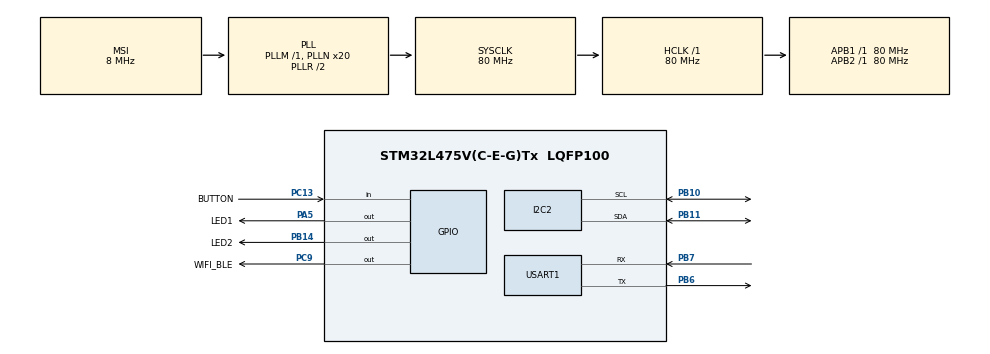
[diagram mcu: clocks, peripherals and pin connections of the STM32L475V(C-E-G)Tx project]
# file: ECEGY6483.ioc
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FREERTOS.Mutexes01=log_mutex,Static,log_mutexControlBlock,Available;sensor_buffer_mutex,Static,sensos_buffer_mutexControlBlock,Available
FREERTOS.Tasks01=defaultTask,8,128,StartDefaultTask,Default,NULL,Static,defaultTaskBuffer,defaultTaskControlBlock;testTask,8,256,StartTestTask,As external,NULL,Static,testTaskBuffer,testTaskControlBlock;sensorTask,40,128,StartSensorTask,As external,NULL,Static,sensorTaskBuffer,sensorTaskControlBlock;fftTask,8,512,StartFFTTask,As external,NULL,Static,fftTaskBuffer,fftTaskControlBlock
FREERTOS.configENABLE_FPU=1
I2C2.Timing=0x10D19CE4
Mcu.Family=STM32L4
Mcu.Name=STM32L475V(C-E-G)Tx
Mcu.Package=LQFP100
NVIC.PriorityGroup=NVIC_PRIORITYGROUP_4
NVIC.TIM6_DAC_IRQn=true\:15\:0\:false\:false\:true\:false\:false\:true\:true
NVIC.TimeBase=TIM6_DAC_IRQn
NVIC.TimeBaseIP=TIM6
PA13\ (JTMS-SWDIO).Mode=Serial_Wire
PA13\ (JTMS-SWDIO).Signal=SYS_JTMS-SWDIO
PA14\ (JTCK-SWCLK).Mode=Serial_Wire
PA14\ (JTCK-SWCLK).Signal=SYS_JTCK-SWCLK
PA5.GPIO_Label=LED1
PA5.Signal=GPIO_Output
PB10.Mode=I2C
PB10.Signal=I2C2_SCL
PB11.Mode=I2C
PB11.Signal=I2C2_SDA
PB14.GPIO_Label=LED2
PB14.Signal=GPIO_Output
PB6.Mode=Asynchronous
PB6.Signal=USART1_TX
PB7.Mode=Asynchronous
PB7.Signal=USART1_RX
PC13.GPIO_Label=BUTTON
PC13.Signal=GPIO_Input
PC9.GPIO_Label=WIFI_BLE
PC9.GPIO_ModeDefaultOutputPP=GPIO_MODE_OUTPUT_OD
PC9.GPIO_PuPd=GPIO_NOPULL
PC9.PinState=GPIO_PIN_SET
PC9.Signal=GPIO_Output
ProjectManager.HeapSize=0x200
ProjectManager.StackSize=0x400
ProjectManager.TargetToolchain=CMake
RCC.ADCFreq_Value=32000000
RCC.AHBFreq_Value=80000000
RCC.APB1Freq_Value=80000000
RCC.APB1TimFreq_Value=80000000
RCC.APB2Freq_Value=80000000
RCC.APB2TimFreq_Value=80000000
RCC.CortexFreq_Value=80000000
RCC.HCLKFreq_Value=80000000
RCC.HSE_VALUE=8000000
RCC.HSI_VALUE=16000000
RCC.LSE_VALUE=32768
RCC.MSIClockRange=RCC_MSIRANGE_7
RCC.MSI_VALUE=8000000
RCC.PLLN=20
RCC.SYSCLKFreq_VALUE=80000000
RCC.SYSCLKSource=RCC_SYSCLKSOURCE_PLLCLK
RCC.USBFreq_Value=32000000
RCC.VCOOutputFreq_Value=160000000
STMicroelectronics.X-CUBE-ALGOBUILD.1.4.0.LibraryCcDSPOoLibraryJjDSPOoLibrary=true
USART1.VirtualMode-Asynchronous=VM_ASYNC
VP_FREERTOS_VS_CMSIS_V2.Mode=CMSIS_V2
VP_STMicroelectronics.X-CUBE-ALGOBUILD_VS_DSPOoLibraryJjLibrary_1.4.0_1.4.0.Mode=DSPOoLibraryJjLibrary
VP_SYS_VS_tim6.Mode=TIM6
board=custom

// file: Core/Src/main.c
/* USER CODE BEGIN Header */
/**
  ******************************************************************************
  * @file           : main.c
  * @brief          : Main program body
  ******************************************************************************
  * @attention
  *
  * Copyright (c) 2025 STMicroelectronics.
  * All rights reserved.
  *
  * This software is licensed under terms that can be found in the LICENSE file
  * in the root directory of this software component.
  * If no LICENSE file comes with this software, it is provided AS-IS.
  *
  ******************************************************************************
  */
/* USER CODE END Header */
#include "main.h"
#include "cmsis_os.h"

/* USER CODE BEGIN Includes */
#include <stdio.h>

#include "stm32l475e_iot01.h"
/* USER CODE END Includes */

typedef StaticTask_t osStaticThreadDef_t;
typedef StaticSemaphore_t osStaticMutexDef_t;

/* USER CODE BEGIN PD */
#ifdef __GNUC__
/* With GCC/RAISONANCE, small msg_info (option LD Linker->Libraries->Small msg_info
   set to 'Yes') calls __io_putchar() */
#define PUTCHAR_PROTOTYPE int __io_putchar(int ch)
#define GETCHAR_PROTOTYPE int __io_getchar(void)
#else
#define PUTCHAR_PROTOTYPE int fputc(int ch, FILE *f)
#define GETCHAR_PROTOTYPE int fgetc(FILE *f)
#endif /* __GNUC__ */
/* USER CODE END PD */

I2C_HandleTypeDef hi2c2;

UART_HandleTypeDef huart1;

/* Definitions for defaultTask */
osThreadId_t defaultTaskHandle;
uint32_t defaultTaskBuffer[ 128 ];
osStaticThreadDef_t defaultTaskControlBlock;
const osThreadAttr_t defaultTask_attributes = {
  .name = "defaultTask",
  .cb_mem = &defaultTaskControlBlock,
  .cb_size = sizeof(defaultTaskControlBlock),
  .stack_mem = &defaultTaskBuffer[0],
  .stack_size = sizeof(defaultTaskBuffer),
  .priority = (osPriority_t) osPriorityLow,
};
/* Definitions for testTask */
osThreadId_t testTaskHandle;
uint32_t testTaskBuffer[ 256 ];
osStaticThreadDef_t testTaskControlBlock;
const osThreadAttr_t testTask_attributes = {
  .name = "testTask",
  .cb_mem = &testTaskControlBlock,
  .cb_size = sizeof(testTaskControlBlock),
  .stack_mem = &testTaskBuffer[0],
  .stack_size = sizeof(testTaskBuffer),
  .priority = (osPriority_t) osPriorityLow,
};
/* Definitions for sensorTask */
osThreadId_t sensorTaskHandle;
uint32_t sensorTaskBuffer[ 128 ];
osStaticThreadDef_t sensorTaskControlBlock;
const osThreadAttr_t sensorTask_attributes = {
  .name = "sensorTask",
  .cb_mem = &sensorTaskControlBlock,
  .cb_size = sizeof(sensorTaskControlBlock),
  .stack_mem = &sensorTaskBuffer[0],
  .stack_size = sizeof(sensorTaskBuffer),
  .priority = (osPriority_t) osPriorityHigh,
};
/* Definitions for fftTask */
osThreadId_t fftTaskHandle;
uint32_t fftTaskBuffer[ 512 ];
osStaticThreadDef_t fftTaskControlBlock;
const osThreadAttr_t fftTask_attributes = {
  .name = "fftTask",
  .cb_mem = &fftTaskControlBlock,
  .cb_size = sizeof(fftTaskControlBlock),
  .stack_mem = &fftTaskBuffer[0],
  .stack_size = sizeof(fftTaskBuffer),
  .priority = (osPriority_t) osPriorityLow,
};
/* Definitions for log_mutex */
osMutexId_t log_mutexHandle;
osStaticMutexDef_t log_mutexControlBlock;
const osMutexAttr_t log_mutex_attributes = {
  .name = "log_mutex",
  .cb_mem = &log_mutexControlBlock,
  .cb_size = sizeof(log_mutexControlBlock),
};
/* Definitions for sensor_buffer_mutex */
osMutexId_t sensor_buffer_mutexHandle;
osStaticMutexDef_t sensos_buffer_mutexControlBlock;
const osMutexAttr_t sensor_buffer_mutex_attributes = {
  .name = "sensor_buffer_mutex",
  .cb_mem = &sensos_buffer_mutexControlBlock,
  .cb_size = sizeof(sensos_buffer_mutexControlBlock),
};

void SystemClock_Config(void);
static void MX_GPIO_Init(void);
static void MX_USART1_UART_Init(void);
static void MX_I2C2_Init(void);
void StartDefaultTask(void *argument);
extern void StartTestTask(void *argument);
extern void StartSensorTask(void *argument);
extern void StartFFTTask(void *argument);

/* USER CODE BEGIN 0 */
/**
  * @brief Retargets the C library msg_info function to the USART.
  * @param None
  * @retval None
  */
PUTCHAR_PROTOTYPE
{
  /* Place your implementation of fputc here */
  /* e.g. write a character to the serial port and Loop until the end of transmission */
  while (HAL_OK != HAL_UART_Transmit(&huart1, (uint8_t *) &ch, 1, 30000))
  {
    ;
  }
  return ch;
}

/**
  * @brief Retargets the C library scanf function to the USART.
  * @param None
  * @retval None
  */
GETCHAR_PROTOTYPE
{
  /* Place your implementation of fgetc here */
  /* e.g. readwrite a character to the USART2 and Loop until the end of transmission */
  uint8_t ch = 0;
  while (HAL_OK != HAL_UART_Receive(&huart1, (uint8_t *)&ch, 1, 30000))
  {
    ;
  }
  return ch;
}

/* USER CODE END 0 */

int main(void)
{

  /* MCU Configuration--------------------------------------------------------*/

  /* Reset of all peripherals, Initializes the Flash interface and the Systick. */
  HAL_Init();

  /* Configure the system clock */
  SystemClock_Config();

  /* Initialize all configured peripherals */
  MX_GPIO_Init();
  MX_USART1_UART_Init();
  MX_I2C2_Init();

  /* Init scheduler */
  osKernelInitialize();
  /* Create the mutex(es) */
  /* creation of log_mutex */
  log_mutexHandle = osMutexNew(&log_mutex_attributes);

  /* creation of sensor_buffer_mutex */
  sensor_buffer_mutexHandle = osMutexNew(&sensor_buffer_mutex_attributes);

  /* Create the thread(s) */
  /* creation of defaultTask */
  defaultTaskHandle = osThreadNew(StartDefaultTask, NULL, &defaultTask_attributes);

  /* creation of testTask */
  testTaskHandle = osThreadNew(StartTestTask, NULL, &testTask_attributes);

  /* creation of sensorTask */
  sensorTaskHandle = osThreadNew(StartSensorTask, NULL, &sensorTask_attributes);

  /* creation of fftTask */
  fftTaskHandle = osThreadNew(StartFFTTask, NULL, &fftTask_attributes);

  /* Start scheduler */
  osKernelStart();

  /* We should never get here as control is now taken by the scheduler */

  /* Infinite loop */
  while (1)
  {

  }
}

void SystemClock_Config(void)
{
  RCC_OscInitTypeDef RCC_OscInitStruct = {0};
  RCC_ClkInitTypeDef RCC_ClkInitStruct = {0};

  /** Configure the main internal regulator output voltage
  */
  if (HAL_PWREx_ControlVoltageScaling(PWR_REGULATOR_VOLTAGE_SCALE1) != HAL_OK)
  {
    Error_Handler();
  }

  /** Initializes the RCC Oscillators according to the specified parameters
  * in the RCC_OscInitTypeDef structure.
  */
  RCC_OscInitStruct.OscillatorType = RCC_OSCILLATORTYPE_MSI;
  RCC_OscInitStruct.MSIState = RCC_MSI_ON;
  RCC_OscInitStruct.MSICalibrationValue = 0;
  RCC_OscInitStruct.MSIClockRange = RCC_MSIRANGE_7;
  RCC_OscInitStruct.PLL.PLLState = RCC_PLL_ON;
  RCC_OscInitStruct.PLL.PLLSource = RCC_PLLSOURCE_MSI;
  RCC_OscInitStruct.PLL.PLLM = 1;
  RCC_OscInitStruct.PLL.PLLN = 20;
  RCC_OscInitStruct.PLL.PLLP = RCC_PLLP_DIV7;
  RCC_OscInitStruct.PLL.PLLQ = RCC_PLLQ_DIV2;
  RCC_OscInitStruct.PLL.PLLR = RCC_PLLR_DIV2;
  if (HAL_RCC_OscConfig(&RCC_OscInitStruct) != HAL_OK)
  {
    Error_Handler();
  }

  /** Initializes the CPU, AHB and APB buses clocks
  */
  RCC_ClkInitStruct.ClockType = RCC_CLOCKTYPE_HCLK|RCC_CLOCKTYPE_SYSCLK
                              |RCC_CLOCKTYPE_PCLK1|RCC_CLOCKTYPE_PCLK2;
  RCC_ClkInitStruct.SYSCLKSource = RCC_SYSCLKSOURCE_PLLCLK;
  RCC_ClkInitStruct.AHBCLKDivider = RCC_SYSCLK_DIV1;
  RCC_ClkInitStruct.APB1CLKDivider = RCC_HCLK_DIV1;
  RCC_ClkInitStruct.APB2CLKDivider = RCC_HCLK_DIV1;

  if (HAL_RCC_ClockConfig(&RCC_ClkInitStruct, FLASH_LATENCY_4) != HAL_OK)
  {
    Error_Handler();
  }
}

static void MX_I2C2_Init(void)
{

  hi2c2.Instance = I2C2;
  hi2c2.Init.Timing = 0x10D19CE4;
  hi2c2.Init.OwnAddress1 = 0;
  hi2c2.Init.AddressingMode = I2C_ADDRESSINGMODE_7BIT;
  hi2c2.Init.DualAddressMode = I2C_DUALADDRESS_DISABLE;
  hi2c2.Init.OwnAddress2 = 0;
  hi2c2.Init.OwnAddress2Masks = I2C_OA2_NOMASK;
  hi2c2.Init.GeneralCallMode = I2C_GENERALCALL_DISABLE;
  hi2c2.Init.NoStretchMode = I2C_NOSTRETCH_DISABLE;
  if (HAL_I2C_Init(&hi2c2) != HAL_OK)
  {
    Error_Handler();
  }

  /** Configure Analogue filter
  */
  if (HAL_I2CEx_ConfigAnalogFilter(&hi2c2, I2C_ANALOGFILTER_ENABLE) != HAL_OK)
  {
    Error_Handler();
  }

  /** Configure Digital filter
  */
  if (HAL_I2CEx_ConfigDigitalFilter(&hi2c2, 0) != HAL_OK)
  {
    Error_Handler();
  }

}

static void MX_USART1_UART_Init(void)
{

  huart1.Instance = USART1;
  huart1.Init.BaudRate = 115200;
  huart1.Init.WordLength = UART_WORDLENGTH_8B;
  huart1.Init.StopBits = UART_STOPBITS_1;
  huart1.Init.Parity = UART_PARITY_NONE;
  huart1.Init.Mode = UART_MODE_TX_RX;
  huart1.Init.HwFlowCtl = UART_HWCONTROL_NONE;
  huart1.Init.OverSampling = UART_OVERSAMPLING_16;
  huart1.Init.OneBitSampling = UART_ONE_BIT_SAMPLE_DISABLE;
  huart1.AdvancedInit.AdvFeatureInit = UART_ADVFEATURE_NO_INIT;
  if (HAL_UART_Init(&huart1) != HAL_OK)
  {
    Error_Handler();
  }

}

static void MX_GPIO_Init(void)
{
  GPIO_InitTypeDef GPIO_InitStruct = {0};

  /* GPIO Ports Clock Enable */
  __HAL_RCC_GPIOC_CLK_ENABLE();
  __HAL_RCC_GPIOA_CLK_ENABLE();
  __HAL_RCC_GPIOB_CLK_ENABLE();

  /*Configure GPIO pin Output Level */
  HAL_GPIO_WritePin(LED1_GPIO_Port, LED1_Pin, GPIO_PIN_RESET);

  /*Configure GPIO pin Output Level */
  HAL_GPIO_WritePin(LED2_GPIO_Port, LED2_Pin, GPIO_PIN_RESET);

  /*Configure GPIO pin Output Level */
  HAL_GPIO_WritePin(WIFI_BLE_GPIO_Port, WIFI_BLE_Pin, GPIO_PIN_SET);

  /*Configure GPIO pin : BUTTON_Pin */
  GPIO_InitStruct.Pin = BUTTON_Pin;
  GPIO_InitStruct.Mode = GPIO_MODE_INPUT;
  GPIO_InitStruct.Pull = GPIO_NOPULL;
  HAL_GPIO_Init(BUTTON_GPIO_Port, &GPIO_InitStruct);

  /*Configure GPIO pin : LED1_Pin */
  GPIO_InitStruct.Pin = LED1_Pin;
  GPIO_InitStruct.Mode = GPIO_MODE_OUTPUT_PP;
  GPIO_InitStruct.Pull = GPIO_NOPULL;
  GPIO_InitStruct.Speed = GPIO_SPEED_FREQ_LOW;
  HAL_GPIO_Init(LED1_GPIO_Port, &GPIO_InitStruct);

  /*Configure GPIO pin : LED2_Pin */
  GPIO_InitStruct.Pin = LED2_Pin;
  GPIO_InitStruct.Mode = GPIO_MODE_OUTPUT_PP;
  GPIO_InitStruct.Pull = GPIO_NOPULL;
  GPIO_InitStruct.Speed = GPIO_SPEED_FREQ_LOW;
  HAL_GPIO_Init(LED2_GPIO_Port, &GPIO_InitStruct);

  /*Configure GPIO pin : WIFI_BLE_Pin */
  GPIO_InitStruct.Pin = WIFI_BLE_Pin;
  GPIO_InitStruct.Mode = GPIO_MODE_OUTPUT_OD;
  GPIO_InitStruct.Pull = GPIO_NOPULL;
  GPIO_InitStruct.Speed = GPIO_SPEED_FREQ_LOW;
  HAL_GPIO_Init(WIFI_BLE_GPIO_Port, &GPIO_InitStruct);

}

void StartDefaultTask(void *argument)
{
  /* USER CODE BEGIN 5 */
  /* Infinite loop */
  for(;;)
  {
    osDelay(1000);
  }
  /* USER CODE END 5 */
}

void HAL_TIM_PeriodElapsedCallback(TIM_HandleTypeDef *htim)
{
  if (htim->Instance == TIM6)
  {
    HAL_IncTick();
  }
}

void Error_Handler(void)
{
  __disable_irq();
  while (1)
  {
  }
}
